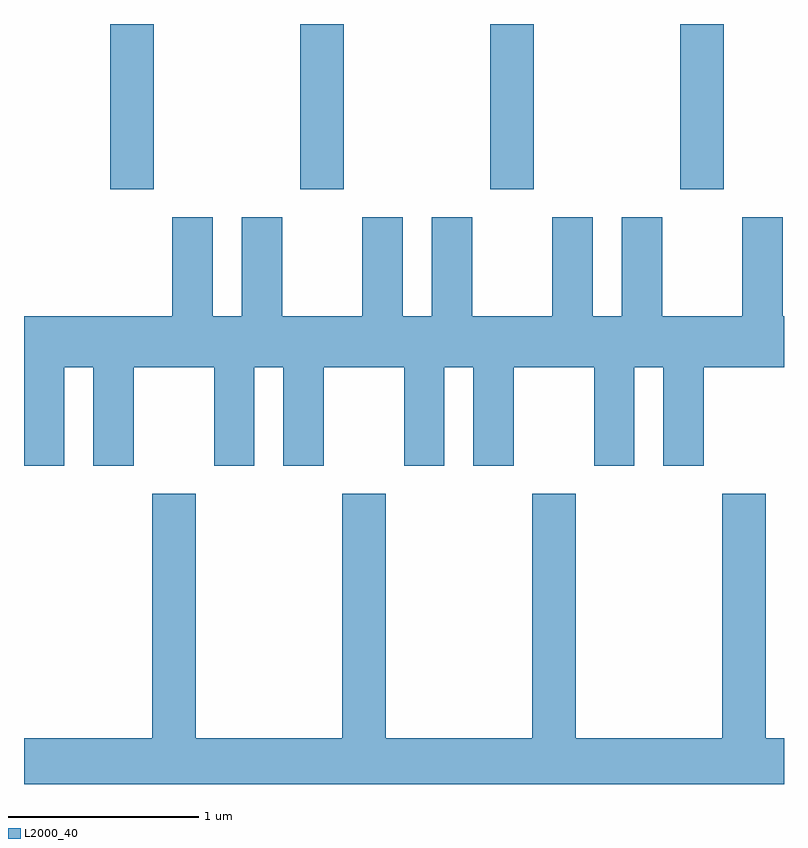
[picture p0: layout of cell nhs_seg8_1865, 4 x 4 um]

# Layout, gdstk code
import gdstk
lib = gdstk.Library(unit=1e-6, precision=1e-09)
def R(c, l, rs):  # rectangles x0, y0, x1, y1
    for r in rs: c.add(gdstk.rectangle(r[:2], r[2:], *l))
def A(c, l, x, y, w, h, nx, ny, dx, dy):  # array of equal rectangles
    R(c, l, [(x+i*dx, y+j*dy, x+i*dx+w, y+j*dy+h) for i in range(nx) for j in range(ny)])
def P(c, l, *ps):  # polygons
    for p in ps: c.add(gdstk.Polygon(p, *l))
L2000_40 = (2000, 40)

nhs_seg8_1865 = lib.new_cell('nhs_seg8_1865')
A(nhs_seg8_1865, L2000_40, 240.066, 1939.471, 0.228, 0.871, 4, 1, 1, 0)
P(nhs_seg8_1865, L2000_40, [(241.824,1938.536),(241.976,1938.536),(241.976,1938.016),(242.189,1938.016),(242.189,1938.536),(242.611,1938.536),(242.611,1938.016),(242.824,1938.016),(242.824,1938.536),(242.976,1938.536),(242.976,1938.016),(243.189,1938.016),(243.189,1938.536),(243.611,1938.536),(243.611,1938.804),(243.604,1938.804),(243.604,1939.324),(243.391,1939.324),(243.391,1938.804),(242.969,1938.804),(242.969,1939.324),(242.756,1939.324),(242.756,1938.804),(242.604,1938.804),(242.604,1939.324),(242.391,1939.324),(242.391,1938.804),(241.969,1938.804),(241.969,1939.324),(241.756,1939.324),(241.756,1938.804),(241.604,1938.804),(241.604,1939.324),(241.391,1939.324),(241.391,1938.804),(240.969,1938.804),(240.969,1939.324),(240.756,1939.324),(240.756,1938.804),(240.604,1938.804),(240.604,1939.324),(240.391,1939.324),(240.391,1938.804),(239.611,1938.804),(239.611,1938.016),(239.824,1938.016),(239.824,1938.536),(239.976,1938.536),(239.976,1938.016),(240.189,1938.016),(240.189,1938.536),(240.611,1938.536),(240.611,1938.016),(240.824,1938.016),(240.824,1938.536),(240.976,1938.536),(240.976,1938.016),(241.189,1938.016),(241.189,1938.536),(241.611,1938.536),(241.611,1938.016),(241.824,1938.016)],
  [(243.611,1936.584),(243.514,1936.584),(243.514,1937.869),(243.286,1937.869),(243.286,1936.584),(242.514,1936.584),(242.514,1937.869),(242.286,1937.869),(242.286,1936.584),(241.514,1936.584),(241.514,1937.869),(241.286,1937.869),(241.286,1936.584),(240.514,1936.584),(240.514,1937.869),(240.286,1937.869),(240.286,1936.584),(239.611,1936.584),(239.611,1936.342),(243.611,1936.342)])

lib.write_gds('nhs_seg8_1865.gds')
